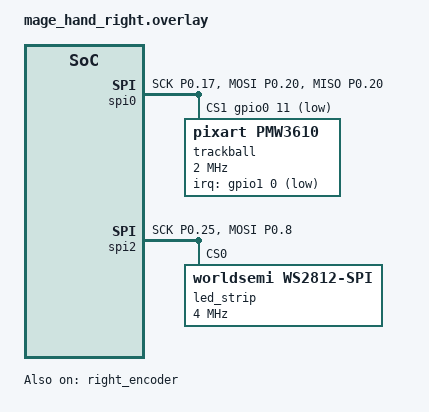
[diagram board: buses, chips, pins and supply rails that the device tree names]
#include "mage_hand.dtsi"

/ {
	chosen {
		zmk,underglow  = &led_strip;
		zephyr,display = &nice_view_screen;
    };
};


//======//
// KEYS //
//======//
&default_transform { 
    col-offset = <7>;
};

&kscan0 {
    col-gpios
        = <&gpio1 13 GPIO_ACTIVE_HIGH> 
		, <&gpio1 11 GPIO_ACTIVE_HIGH>
        , <&gpio0 10 GPIO_ACTIVE_HIGH>
        , <&gpio0  9 GPIO_ACTIVE_HIGH>
        , <&gpio1  1 GPIO_ACTIVE_HIGH>
        , <&gpio1  2 GPIO_ACTIVE_HIGH>
        , <&gpio1  7 GPIO_ACTIVE_HIGH>
        ;
};


//=========//
// ENCODER //
//=========//
&right_encoder {
    status = "okay";
};


//======================//
// TRACKBALL AND SCREEN //
//======================//
&trackball_peripheral_split {
    device = <&trackball>;
};

&pinctrl {
    spi0_default: spi0_default {
        group1 {
            psels = <NRF_PSEL(SPIM_SCK,  0, 17)>,
					<NRF_PSEL(SPIM_MOSI, 0, 20)>,
					<NRF_PSEL(SPIM_MISO, 0, 20)>;
        };
    };

    spi0_sleep: spi0_sleep {
        group1 {
            psels = <NRF_PSEL(SPIM_SCK,  0, 17)>,
					<NRF_PSEL(SPIM_MOSI, 0, 20)>,
					<NRF_PSEL(SPIM_MISO, 0, 20)>;
            low-power-enable;
        };
    };
};

nice_view_spi: &spi0 {
    status = "okay";
    compatible = "nordic,nrf-spim";
    pinctrl-0 = <&spi0_default>;
    pinctrl-1 = <&spi0_sleep>;
    pinctrl-names = "default", "sleep";
    cs-gpios = <&gpio0 6 GPIO_ACTIVE_HIGH>, <&gpio0 11 GPIO_ACTIVE_LOW>;

    trackball: trackball@1 {
        status = "okay";
        compatible = "pixart,pmw3610";
        reg = <1>;
        spi-max-frequency = <2000000>;
        irq-gpios = <&gpio1 0 (GPIO_ACTIVE_LOW | GPIO_PULL_UP)>;
        cpi = <600>;
        evt-type = <INPUT_EV_REL>;
        x-input-code = <INPUT_REL_X>;
        y-input-code = <INPUT_REL_Y>;

        force-awake; //keep the sensor awake while ZMK activity state is ACTIVE, fallback to normal downshift mode after ZMK goes into IDLE / SLEEP mode. thus, the sensor would be a `wakeup-source` 
        force-awake-4ms-mode; // while force-awake is acitvated, enable this mode to force sampling per 4ms, where the default sampling rate is 8ms. NOTE: apply this mode if you need 250Hz with direct USB connection. 
    };
};

/*
/ {
  trackball_listener {
    compatible = "zmk,input-listener";
    device = <&trackball>;
  };
};
*/

/*
nice_view_spi: &spi1 {
	status = "okay";
	compatible = "nordic,nrf-spim";
	pinctrl-0 = <&trackball_default>;
	pinctrl-1 = <&trackball_sleep>;
	pinctrl-names = "default", "sleep";
	cs-gpios = <&gpio0 6 GPIO_ACTIVE_HIGH>, <&gpio1 0 GPIO_ACTIVE_LOW>;
 
	right_trackball: right_trackball@1 {
		status = "okay";
		compatible = "pixart,pmw3610";
		reg = <1>;
		spi-max-frequency = <2000000>;
        irq-gpios = <&gpio0 20 (GPIO_ACTIVE_LOW | GPIO_PULL_UP)>;
		cpi = <600>;
		evt-type = <INPUT_EV_REL>;
		x-input-code = <INPUT_REL_X>;
		y-input-code = <INPUT_REL_Y>;
		
        force-awake; //keep the sensor awake while ZMK activity state is ACTIVE, fallback to normal downshift mode after ZMK goes into IDLE / SLEEP mode. thus, the sensor would be a `wakeup-source`
	};
};

right_listener: &right_listener {
	compatible = "zmk,input-listener";
	device = <&right_trackball>;//was trackball_peripheral_split
	input-processors =
		//<&zip_scroll_transform INPUT_TRANSFORM_Y_INVERT>;
		//<&zip_x_scaler 4 1>;
		//<&zip_xy_transform INPUT_TRANSFORM_XY_SWAP>; // this gets it to the default installation orientation
		//,<&zip_temp_layer 3 500>;                    // activate layer 3 within 500ms of the trackball moving
		
		<&zip_xy_transform INPUT_TRANSFORM_X_INVERT>,
		<&zip_xy_transform INPUT_TRANSFORM_Y_INVERT>,
		<&zip_xy_transform INPUT_TRANSFORM_XY_SWAP>,
		<&zip_temp_layer 3 500>;
};

&pinctrl {
	trackball_default: trackball_default {
		group1 {
			psels = <NRF_PSEL(SPIM_SCK,  0, 17)>,
					<NRF_PSEL(SPIM_MOSI, 0, 11)>,
					<NRF_PSEL(SPIM_MISO, 0, 11)>;
		};
	};

	trackball_sleep: trackball_sleep {
		group1 {
			psels = <NRF_PSEL(SPIM_SCK,  0, 17)>,
					<NRF_PSEL(SPIM_MOSI, 0, 11)>,
					<NRF_PSEL(SPIM_MISO, 0, 11)>;
			low-power-enable;
		};
	};
};
*/

//======//
// LEDS //
//======//
&pinctrl {
	spi2_default: spi2_default {
		group1 {
			psels = <NRF_PSEL(SPIM_SCK, 0, 25)>, // unconnected
					<NRF_PSEL(SPIM_MOSI, 0, 8)>;
		};
	};

    spi2_sleep: spi2_sleep {
		group1 {
			psels = <NRF_PSEL(SPIM_SCK, 0, 25)>, // unconnected
					<NRF_PSEL(SPIM_MOSI, 0, 8)>;
			low-power-enable;
		};
	};
};

&spi2 {
    compatible = "nordic,nrf-spim";
    status     = "okay";

    pinctrl-0     = <&spi2_default>;
    pinctrl-1     = <&spi2_sleep>;
    pinctrl-names = "default", "sleep";

    led_strip: ws2812@0 {
		compatible = "worldsemi,ws2812-spi";

	    /* SPI */
		reg = <0>; /* ignored, but necessary for SPI bindings */
		spi-max-frequency = <4000000>;

		/* WS2812 */
		chain-length   = <39>; /* arbitrary; change at will */
		spi-one-frame  = <0x70>;
		spi-zero-frame = <0x40>;

		color-mapping = <LED_COLOR_ID_GREEN LED_COLOR_ID_RED LED_COLOR_ID_BLUE>;
	};
};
